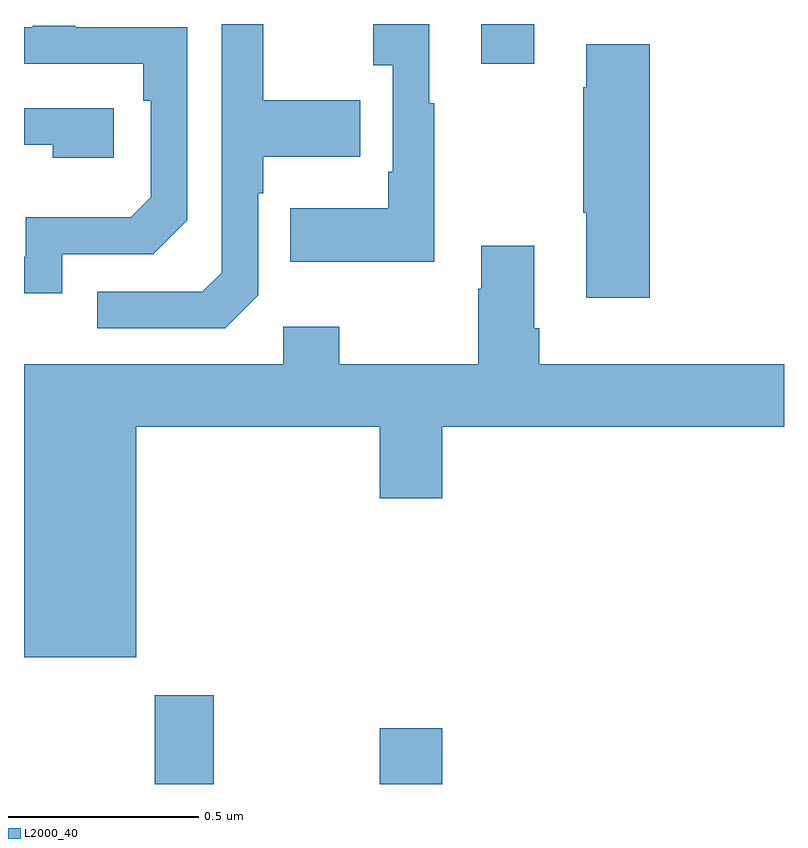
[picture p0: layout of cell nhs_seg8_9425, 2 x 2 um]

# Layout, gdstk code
import gdstk
lib = gdstk.Library(unit=1e-6, precision=1e-09)
def R(c, l, rs):  # rectangles x0, y0, x1, y1
    for r in rs: c.add(gdstk.rectangle(r[:2], r[2:], *l))
def P(c, l, *ps):  # polygons
    for p in ps: c.add(gdstk.Polygon(p, *l))
L2000_40 = (2000, 40)

nhs_seg8_9425 = lib.new_cell('nhs_seg8_9425')
R(nhs_seg8_9425, L2000_40, [(236.344,1108.9,236.499,1109.134), (236.936,1108.9,237.1,1109.047), (237.203,1110.795,237.343,1110.9)])
P(nhs_seg8_9425, L2000_40, [(237.079,1110.691),(237.067,1110.691),(237.067,1110.9),(236.919,1110.9),(236.919,1110.791),(236.97,1110.791),(236.97,1110.511),(236.958,1110.511),(236.958,1110.415),(236.701,1110.415),(236.701,1110.275),(237.079,1110.275)],
  [(236.616,1110.186),(236.616,1110.455),(236.629,1110.455),(236.629,1110.551),(236.885,1110.551),(236.885,1110.699),(236.629,1110.699),(236.629,1110.9),(236.52,1110.9),(236.52,1110.246),(236.469,1110.195),(236.193,1110.195),(236.193,1110.099),(236.529,1110.099)],
  [(236.1,1110.294),(236.34,1110.294),(236.43,1110.384),(236.43,1110.891),(236.135,1110.891),(236.135,1110.896),(236.023,1110.896),(236.023,1110.891),(236,1110.891),(236,1110.795),(236.314,1110.795),(236.314,1110.698),(236.334,1110.698),(236.334,1110.444),(236.281,1110.391),(236.004,1110.391),(236.004,1110.288),(236,1110.288),(236,1110.192),(236.1,1110.192)],
  [(237.647,1110.847),(237.479,1110.847),(237.479,1110.734),(237.472,1110.734),(237.472,1110.403),(237.479,1110.403),(237.479,1110.18),(237.647,1110.18)],
  [(236.236,1110.678),(236,1110.678),(236,1110.582),(236.075,1110.582),(236.075,1110.548),(236.236,1110.548)],
  [(236.296,1109.84),(236.936,1109.84),(236.936,1109.652),(237.1,1109.652),(237.1,1109.84),(238,1109.84),(238,1110.004),(237.356,1110.004),(237.356,1110.1),(237.343,1110.1),(237.343,1110.316),(237.203,1110.316),(237.203,1110.203),(237.196,1110.203),(237.196,1110.004),(236.829,1110.004),(236.829,1110.103),(236.682,1110.103),(236.682,1110.004),(236,1110.004),(236,1109.234),(236.296,1109.234)])

lib.write_gds('nhs_seg8_9425.gds')
